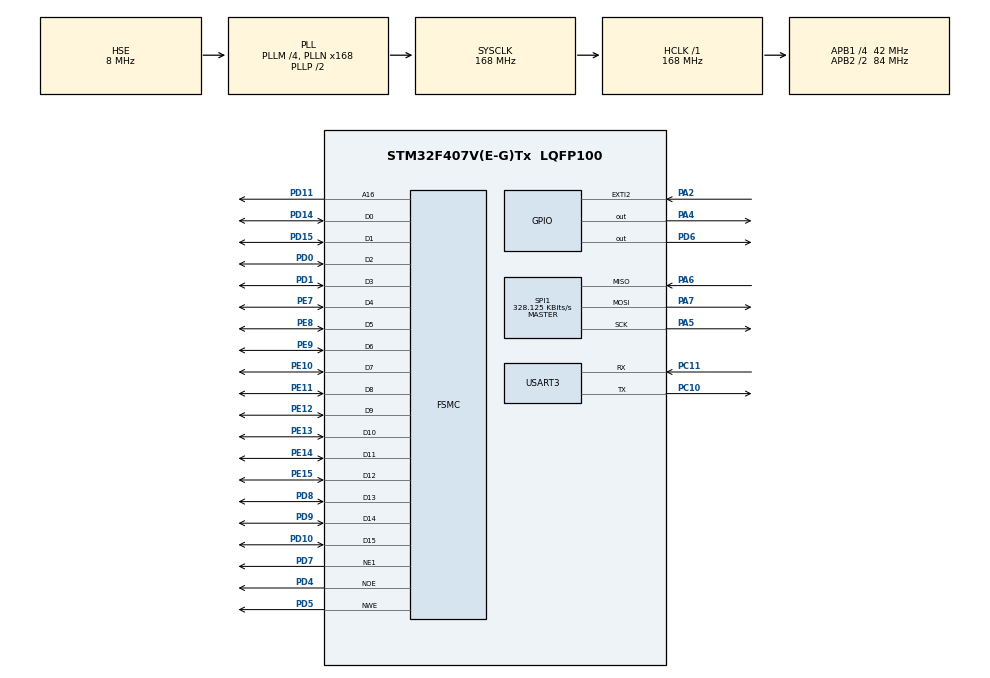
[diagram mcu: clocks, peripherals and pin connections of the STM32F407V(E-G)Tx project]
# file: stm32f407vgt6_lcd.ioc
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FSMC.AddressSetupTime1=2
FSMC.DataSetupTime1=15
FSMC.ExtendedAddressSetupTime1=2
FSMC.ExtendedBusTurnAroundDuration1=3
FSMC.ExtendedDataSetupTime1=3
FSMC.ExtendedMode1=FSMC_EXTENDED_MODE_ENABLE
Mcu.Family=STM32F4
Mcu.Name=STM32F407V(E-G)Tx
Mcu.Package=LQFP100
NVIC.EXTI2_IRQn=true\:0\:0\:true\:false\:true\:true\:true
NVIC.PriorityGroup=NVIC_PRIORITYGROUP_4
PA2.GPIO_ModeDefaultEXTI=GPIO_MODE_IT_RISING_FALLING
PA2.GPIO_PuPd=GPIO_NOPULL
PA2.Signal=GPXTI2
PA4.Signal=GPIO_Output
PA5.Mode=Full_Duplex_Master
PA5.Signal=SPI1_SCK
PA6.Mode=Full_Duplex_Master
PA6.Signal=SPI1_MISO
PA7.Mode=Full_Duplex_Master
PA7.Signal=SPI1_MOSI
PC10.Mode=Asynchronous
PC10.Signal=USART3_TX
PC11.Mode=Asynchronous
PC11.Signal=USART3_RX
PC14-OSC32_IN.Mode=LSE-External-Oscillator
PC14-OSC32_IN.Signal=RCC_OSC32_IN
PC15-OSC32_OUT.Mode=LSE-External-Oscillator
PC15-OSC32_OUT.Signal=RCC_OSC32_OUT
PD0.Mode=16b-d1
PD0.Signal=FSMC_D2
PD1.Mode=16b-d1
PD1.Signal=FSMC_D3
PD10.Mode=16b-d1
PD10.Signal=FSMC_D15
PD11.Mode=A16_1
PD11.Signal=FSMC_A16
PD14.Mode=16b-d1
PD14.Signal=FSMC_D0
PD15.Mode=16b-d1
PD15.Signal=FSMC_D1
PD4.Mode=Lcd1
PD4.Signal=FSMC_NOE
PD5.Mode=Lcd1
PD5.Signal=FSMC_NWE
PD6.Signal=GPIO_Output
PD7.Mode=NorPsramChipSelect1_1
PD7.Signal=FSMC_NE1
PD8.Mode=16b-d1
PD8.Signal=FSMC_D13
PD9.Mode=16b-d1
PD9.Signal=FSMC_D14
PE10.Mode=16b-d1
PE10.Signal=FSMC_D7
PE11.Mode=16b-d1
PE11.Signal=FSMC_D8
PE12.Mode=16b-d1
PE12.Signal=FSMC_D9
PE13.Mode=16b-d1
PE13.Signal=FSMC_D10
PE14.Mode=16b-d1
PE14.Signal=FSMC_D11
PE15.Mode=16b-d1
PE15.Signal=FSMC_D12
PE7.Mode=16b-d1
PE7.Signal=FSMC_D4
PE8.Mode=16b-d1
PE8.Signal=FSMC_D5
PE9.Mode=16b-d1
PE9.Signal=FSMC_D6
PH0-OSC_IN.Mode=HSE-External-Oscillator
PH0-OSC_IN.Signal=RCC_OSC_IN
PH1-OSC_OUT.Mode=HSE-External-Oscillator
PH1-OSC_OUT.Signal=RCC_OSC_OUT
ProjectManager.HeapSize=0x200
ProjectManager.StackSize=0x400
ProjectManager.TargetToolchain=STM32CubeIDE
RCC.48MHZClocksFreq_Value=84000000
RCC.AHBFreq_Value=168000000
RCC.APB1CLKDivider=RCC_HCLK_DIV4
RCC.APB1Freq_Value=42000000
RCC.APB1TimFreq_Value=84000000
RCC.APB2CLKDivider=RCC_HCLK_DIV2
RCC.APB2Freq_Value=84000000
RCC.APB2TimFreq_Value=168000000
RCC.CortexFreq_Value=168000000
RCC.HCLKFreq_Value=168000000
RCC.HSE_VALUE=8000000
RCC.HSI_VALUE=16000000
RCC.PLLM=4
RCC.PLLN=168
RCC.PLLSourceVirtual=RCC_PLLSOURCE_HSE
RCC.RCC_RTC_Clock_SourceVirtual=RCC_RTCCLKSOURCE_LSE
RCC.RCC_RTC_Clock_Source_FROM_HSE=RCC_RTCCLKSOURCE_HSE_DIV8
RCC.SYSCLKFreq_VALUE=168000000
RCC.SYSCLKSource=RCC_SYSCLKSOURCE_PLLCLK
RCC.VCOOutputFreq_Value=336000000
RTC.Date=22
RTC.Format=RTC_FORMAT_BIN
RTC.Hours=15
RTC.Minutes=30
RTC.Month=RTC_MONTH_DECEMBER
SPI1.BaudRatePrescaler=SPI_BAUDRATEPRESCALER_256
SPI1.CalculateBaudRate=328.125 KBits/s
SPI1.Direction=SPI_DIRECTION_2LINES
SPI1.Mode=SPI_MODE_MASTER
SPI1.VirtualType=VM_MASTER
USART3.VirtualMode=VM_ASYNC
VP_CRC_VS_CRC.Mode=CRC_Activate
VP_RTC_VS_RTC_Activate.Mode=RTC_Enabled
VP_RTC_VS_RTC_Calendar.Mode=RTC_Calendar
board=custom

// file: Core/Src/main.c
/* USER CODE BEGIN Header */
/**
  ******************************************************************************
  * @file           : main.c
  * @brief          : Main program body
  ******************************************************************************
  * @attention
  *
  * <h2><center>&copy; Copyright (c) 2019 STMicroelectronics.
  * All rights reserved.</center></h2>
  *
  * This software component is licensed by ST under BSD 3-Clause license,
  * the "License"; You may not use this file except in compliance with the
  * License. You may obtain a copy of the License at:
  *                        opensource.org/licenses/BSD-3-Clause
  *
  ******************************************************************************
  */
/* USER CODE END Header */

#include "main.h"

/* USER CODE BEGIN Includes */
#include "My_WindowDLG.h"
/* USER CODE END Includes */

CRC_HandleTypeDef hcrc;

RTC_HandleTypeDef hrtc;

SPI_HandleTypeDef hspi1;

SRAM_HandleTypeDef hsram1;

void SystemClock_Config(void);
static void MX_GPIO_Init(void);
static void MX_FSMC_Init(void);
static void MX_RTC_Init(void);
static void MX_CRC_Init(void);
static void MX_SPI1_Init(void);
static void MX_USART3_UART_Init(void);

/* USER CODE BEGIN 0 */

uint8_t INT_Touch_value=0;
/* USER CODE END 0 */

int main(void)
{

  /* MCU Configuration--------------------------------------------------------*/

  /* Reset of all peripherals, Initializes the Flash interface and the Systick. */
  HAL_Init();

  /* Configure the system clock */
  SystemClock_Config();

  /* Initialize all configured peripherals */
  MX_GPIO_Init();
  MX_FSMC_Init();
  MX_RTC_Init();
  MX_CRC_Init();
  MX_SPI1_Init();
  MX_USART3_UART_Init();
  /* USER CODE BEGIN 2 */
  // LCD_ili9341_ini();
  // LCD_ili9341_Clear(RED);
 // __HAL_RCC_CRC_CLK_ENABLE();
  GUI_Init();
  init_sensor_temp_OW();
  //GUI_SelectLayer(1);
  // CreateMy_Window();
  CreateWindow2();

 // GUI_CURSOR_Select(&GUI_CursorCrossS);
  //GUI_CURSOR_Show();

  /* Touch panel */
 if (0) // 1 - калибруем, 0- вносим значения в матрицу (значения (Matrix) должны быть заранее внесены Вами, например посмотрев их в Дебаггере)
  {
  TouchPanel_Calibrate();
  }
  else
  {
  	Touch_Cal_Read (&matrix);
  }

  /* USER CODE END 2 */

  /* Infinite loop */
  /* USER CODE BEGIN WHILE */
  while (1)
  {

	  GUI_Exec();

    /* USER CODE END WHILE */

  }
}

void SystemClock_Config(void)
{
  RCC_OscInitTypeDef RCC_OscInitStruct = {0};
  RCC_ClkInitTypeDef RCC_ClkInitStruct = {0};
  RCC_PeriphCLKInitTypeDef PeriphClkInitStruct = {0};

  /** Configure the main internal regulator output voltage
  */
  __HAL_RCC_PWR_CLK_ENABLE();
  __HAL_PWR_VOLTAGESCALING_CONFIG(PWR_REGULATOR_VOLTAGE_SCALE1);
  /** Initializes the CPU, AHB and APB busses clocks
  */
  RCC_OscInitStruct.OscillatorType = RCC_OSCILLATORTYPE_HSE|RCC_OSCILLATORTYPE_LSE;
  RCC_OscInitStruct.HSEState = RCC_HSE_ON;
  RCC_OscInitStruct.LSEState = RCC_LSE_ON;
  RCC_OscInitStruct.PLL.PLLState = RCC_PLL_ON;
  RCC_OscInitStruct.PLL.PLLSource = RCC_PLLSOURCE_HSE;
  RCC_OscInitStruct.PLL.PLLM = 4;
  RCC_OscInitStruct.PLL.PLLN = 168;
  RCC_OscInitStruct.PLL.PLLP = RCC_PLLP_DIV2;
  RCC_OscInitStruct.PLL.PLLQ = 4;
  if (HAL_RCC_OscConfig(&RCC_OscInitStruct) != HAL_OK)
  {
    Error_Handler();
  }
  /** Initializes the CPU, AHB and APB busses clocks
  */
  RCC_ClkInitStruct.ClockType = RCC_CLOCKTYPE_HCLK|RCC_CLOCKTYPE_SYSCLK
                              |RCC_CLOCKTYPE_PCLK1|RCC_CLOCKTYPE_PCLK2;
  RCC_ClkInitStruct.SYSCLKSource = RCC_SYSCLKSOURCE_PLLCLK;
  RCC_ClkInitStruct.AHBCLKDivider = RCC_SYSCLK_DIV1;
  RCC_ClkInitStruct.APB1CLKDivider = RCC_HCLK_DIV4;
  RCC_ClkInitStruct.APB2CLKDivider = RCC_HCLK_DIV2;

  if (HAL_RCC_ClockConfig(&RCC_ClkInitStruct, FLASH_LATENCY_5) != HAL_OK)
  {
    Error_Handler();
  }
  PeriphClkInitStruct.PeriphClockSelection = RCC_PERIPHCLK_RTC;
  PeriphClkInitStruct.RTCClockSelection = RCC_RTCCLKSOURCE_LSE;
  if (HAL_RCCEx_PeriphCLKConfig(&PeriphClkInitStruct) != HAL_OK)
  {
    Error_Handler();
  }
}

static void MX_CRC_Init(void)
{

  hcrc.Instance = CRC;
  if (HAL_CRC_Init(&hcrc) != HAL_OK)
  {
    Error_Handler();
  }

}

static void MX_RTC_Init(void)
{

  RTC_TimeTypeDef sTime = {0};
  RTC_DateTypeDef sDate = {0};

  /** Initialize RTC Only
  */
  hrtc.Instance = RTC;
  hrtc.Init.HourFormat = RTC_HOURFORMAT_24;
  hrtc.Init.AsynchPrediv = 127;
  hrtc.Init.SynchPrediv = 255;
  hrtc.Init.OutPut = RTC_OUTPUT_DISABLE;
  hrtc.Init.OutPutPolarity = RTC_OUTPUT_POLARITY_HIGH;
  hrtc.Init.OutPutType = RTC_OUTPUT_TYPE_OPENDRAIN;
  if (HAL_RTC_Init(&hrtc) != HAL_OK)
  {
    Error_Handler();
  }

  /** Initialize RTC and set the Time and Date
  */
  sTime.Hours = 15;
  sTime.Minutes = 30;
  sTime.Seconds = 0;
  sTime.DayLightSaving = RTC_DAYLIGHTSAVING_NONE;
  sTime.StoreOperation = RTC_STOREOPERATION_RESET;
  if (HAL_RTC_SetTime(&hrtc, &sTime, RTC_FORMAT_BIN) != HAL_OK)
  {
    Error_Handler();
  }
  sDate.WeekDay = RTC_WEEKDAY_MONDAY;
  sDate.Month = RTC_MONTH_DECEMBER;
  sDate.Date = 22;
  sDate.Year = 0;

  if (HAL_RTC_SetDate(&hrtc, &sDate, RTC_FORMAT_BIN) != HAL_OK)
  {
    Error_Handler();
  }

}

static void MX_SPI1_Init(void)
{

  /* SPI1 parameter configuration*/
  hspi1.Instance = SPI1;
  hspi1.Init.Mode = SPI_MODE_MASTER;
  hspi1.Init.Direction = SPI_DIRECTION_2LINES;
  hspi1.Init.DataSize = SPI_DATASIZE_8BIT;
  hspi1.Init.CLKPolarity = SPI_POLARITY_LOW;
  hspi1.Init.CLKPhase = SPI_PHASE_1EDGE;
  hspi1.Init.NSS = SPI_NSS_SOFT;
  hspi1.Init.BaudRatePrescaler = SPI_BAUDRATEPRESCALER_256;
  hspi1.Init.FirstBit = SPI_FIRSTBIT_MSB;
  hspi1.Init.TIMode = SPI_TIMODE_DISABLE;
  hspi1.Init.CRCCalculation = SPI_CRCCALCULATION_DISABLE;
  hspi1.Init.CRCPolynomial = 10;
  if (HAL_SPI_Init(&hspi1) != HAL_OK)
  {
    Error_Handler();
  }

}

static void MX_USART3_UART_Init(void)
{

  LL_USART_InitTypeDef USART_InitStruct = {0};

  LL_GPIO_InitTypeDef GPIO_InitStruct = {0};

  /* Peripheral clock enable */
  LL_APB1_GRP1_EnableClock(LL_APB1_GRP1_PERIPH_USART3);

  LL_AHB1_GRP1_EnableClock(LL_AHB1_GRP1_PERIPH_GPIOC);
  /**USART3 GPIO Configuration
  PC10   ------> USART3_TX
  PC11   ------> USART3_RX
  */
  GPIO_InitStruct.Pin = LL_GPIO_PIN_10|LL_GPIO_PIN_11;
  GPIO_InitStruct.Mode = LL_GPIO_MODE_ALTERNATE;
  GPIO_InitStruct.Speed = LL_GPIO_SPEED_FREQ_VERY_HIGH;
  GPIO_InitStruct.OutputType = LL_GPIO_OUTPUT_PUSHPULL;
  GPIO_InitStruct.Pull = LL_GPIO_PULL_UP;
  GPIO_InitStruct.Alternate = LL_GPIO_AF_7;
  LL_GPIO_Init(GPIOC, &GPIO_InitStruct);

  USART_InitStruct.BaudRate = 115200;
  USART_InitStruct.DataWidth = LL_USART_DATAWIDTH_8B;
  USART_InitStruct.StopBits = LL_USART_STOPBITS_1;
  USART_InitStruct.Parity = LL_USART_PARITY_NONE;
  USART_InitStruct.TransferDirection = LL_USART_DIRECTION_TX_RX;
  USART_InitStruct.HardwareFlowControl = LL_USART_HWCONTROL_NONE;
  USART_InitStruct.OverSampling = LL_USART_OVERSAMPLING_16;
  LL_USART_Init(USART3, &USART_InitStruct);
  LL_USART_ConfigAsyncMode(USART3);
  LL_USART_Enable(USART3);

}

static void MX_GPIO_Init(void)
{
  GPIO_InitTypeDef GPIO_InitStruct = {0};

  /* GPIO Ports Clock Enable */
  __HAL_RCC_GPIOC_CLK_ENABLE();
  __HAL_RCC_GPIOH_CLK_ENABLE();
  __HAL_RCC_GPIOA_CLK_ENABLE();
  __HAL_RCC_GPIOE_CLK_ENABLE();
  __HAL_RCC_GPIOD_CLK_ENABLE();

  /*Configure GPIO pin Output Level */
  HAL_GPIO_WritePin(GPIOA, GPIO_PIN_4, GPIO_PIN_RESET);

  /*Configure GPIO pin Output Level */
  HAL_GPIO_WritePin(GPIOD, GPIO_PIN_6, GPIO_PIN_RESET);

  /*Configure GPIO pin : PA2 */
  GPIO_InitStruct.Pin = GPIO_PIN_2;
  GPIO_InitStruct.Mode = GPIO_MODE_IT_RISING_FALLING;
  GPIO_InitStruct.Pull = GPIO_NOPULL;
  HAL_GPIO_Init(GPIOA, &GPIO_InitStruct);

  /*Configure GPIO pin : PA4 */
  GPIO_InitStruct.Pin = GPIO_PIN_4;
  GPIO_InitStruct.Mode = GPIO_MODE_OUTPUT_PP;
  GPIO_InitStruct.Pull = GPIO_NOPULL;
  GPIO_InitStruct.Speed = GPIO_SPEED_FREQ_LOW;
  HAL_GPIO_Init(GPIOA, &GPIO_InitStruct);

  /*Configure GPIO pin : PD6 */
  GPIO_InitStruct.Pin = GPIO_PIN_6;
  GPIO_InitStruct.Mode = GPIO_MODE_OUTPUT_PP;
  GPIO_InitStruct.Pull = GPIO_NOPULL;
  GPIO_InitStruct.Speed = GPIO_SPEED_FREQ_LOW;
  HAL_GPIO_Init(GPIOD, &GPIO_InitStruct);

  /* EXTI interrupt init*/
  HAL_NVIC_SetPriority(EXTI2_IRQn, 0, 0);
  HAL_NVIC_EnableIRQ(EXTI2_IRQn);

}

/* FSMC initialization function */
static void MX_FSMC_Init(void)
{

  FSMC_NORSRAM_TimingTypeDef Timing = {0};
  FSMC_NORSRAM_TimingTypeDef ExtTiming = {0};

  /** Perform the SRAM1 memory initialization sequence
  */
  hsram1.Instance = FSMC_NORSRAM_DEVICE;
  hsram1.Extended = FSMC_NORSRAM_EXTENDED_DEVICE;
  /* hsram1.Init */
  hsram1.Init.NSBank = FSMC_NORSRAM_BANK1;
  hsram1.Init.DataAddressMux = FSMC_DATA_ADDRESS_MUX_DISABLE;
  hsram1.Init.MemoryType = FSMC_MEMORY_TYPE_SRAM;
  hsram1.Init.MemoryDataWidth = FSMC_NORSRAM_MEM_BUS_WIDTH_16;
  hsram1.Init.BurstAccessMode = FSMC_BURST_ACCESS_MODE_DISABLE;
  hsram1.Init.WaitSignalPolarity = FSMC_WAIT_SIGNAL_POLARITY_LOW;
  hsram1.Init.WrapMode = FSMC_WRAP_MODE_DISABLE;
  hsram1.Init.WaitSignalActive = FSMC_WAIT_TIMING_BEFORE_WS;
  hsram1.Init.WriteOperation = FSMC_WRITE_OPERATION_ENABLE;
  hsram1.Init.WaitSignal = FSMC_WAIT_SIGNAL_DISABLE;
  hsram1.Init.ExtendedMode = FSMC_EXTENDED_MODE_ENABLE;
  hsram1.Init.AsynchronousWait = FSMC_ASYNCHRONOUS_WAIT_DISABLE;
  hsram1.Init.WriteBurst = FSMC_WRITE_BURST_DISABLE;
  hsram1.Init.PageSize = FSMC_PAGE_SIZE_NONE;
  /* Timing */
  Timing.AddressSetupTime = 2;
  Timing.AddressHoldTime = 15;
  Timing.DataSetupTime = 15;
  Timing.BusTurnAroundDuration = 15;
  Timing.CLKDivision = 16;
  Timing.DataLatency = 17;
  Timing.AccessMode = FSMC_ACCESS_MODE_A;
  /* ExtTiming */
  ExtTiming.AddressSetupTime = 2;
  ExtTiming.AddressHoldTime = 15;
  ExtTiming.DataSetupTime = 3;
  ExtTiming.BusTurnAroundDuration = 3;
  ExtTiming.CLKDivision = 16;
  ExtTiming.DataLatency = 17;
  ExtTiming.AccessMode = FSMC_ACCESS_MODE_A;

  if (HAL_SRAM_Init(&hsram1, &Timing, &ExtTiming) != HAL_OK)
  {
    Error_Handler( );
  }

}

/* USER CODE BEGIN 4 */

void HAL_GPIO_EXTI_Callback(uint16_t GPIO_Pin)
{

 if(GPIO_Pin== GPIO_PIN_2 ){

	 if (TP_INT_IN==0|| INT_Touch_value==1){
   getDisplayPoint(&display, Read_Ads7846(), &matrix );
	 }
  }
 else{

   __NOP();

 }
}

/* USER CODE END 4 */

void Error_Handler(void)
{
}

/************************ (C) COPYRIGHT STMicroelectronics *****END OF FILE****/
